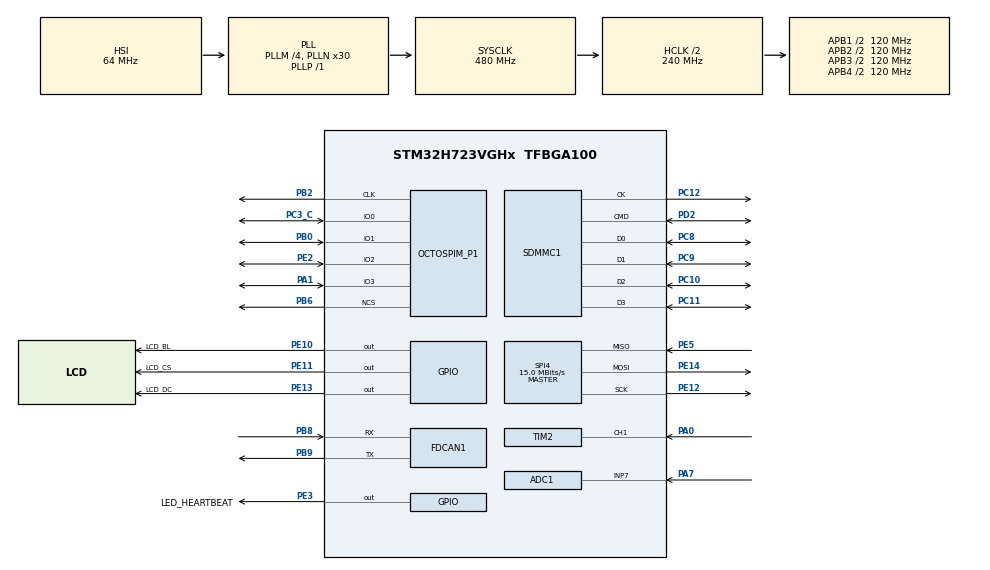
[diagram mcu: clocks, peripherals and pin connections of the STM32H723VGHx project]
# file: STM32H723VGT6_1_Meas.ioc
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ADC1.Channel-0\#ChannelRegularConversion=ADC_CHANNEL_7
ADC1.ConversionDataManagement=ADC_CONVERSIONDATA_DMA_CIRCULAR
ADC1.ExternalTrigConv=ADC_EXTERNALTRIG_T6_TRGO
ADC1.NbrOfConversionFlag=1
ADC1.OffsetNumber-0\#ChannelRegularConversion=ADC_OFFSET_NONE
ADC1.OffsetSignedSaturation-0\#ChannelRegularConversion=DISABLE
ADC1.Rank-0\#ChannelRegularConversion=1
ADC1.SamplingTime-0\#ChannelRegularConversion=ADC_SAMPLETIME_8CYCLES_5
ADC1.master=1
CORTEX_M7.default_mode_Activation=1
Dma.ADC1.0.Direction=DMA_PERIPH_TO_MEMORY
Dma.ADC1.0.EventEnable=DISABLE
Dma.ADC1.0.FIFOMode=DMA_FIFOMODE_DISABLE
Dma.ADC1.0.Instance=DMA1_Stream0
Dma.ADC1.0.MemDataAlignment=DMA_MDATAALIGN_HALFWORD
Dma.ADC1.0.MemInc=DMA_MINC_ENABLE
Dma.ADC1.0.Mode=DMA_CIRCULAR
Dma.ADC1.0.PeriphDataAlignment=DMA_PDATAALIGN_HALFWORD
Dma.ADC1.0.PeriphInc=DMA_PINC_DISABLE
Dma.ADC1.0.Polarity=HAL_DMAMUX_REQ_GEN_RISING
Dma.ADC1.0.Priority=DMA_PRIORITY_LOW
Dma.ADC1.0.RequestNumber=1
Dma.ADC1.0.SignalID=NONE
Dma.ADC1.0.SyncEnable=DISABLE
Dma.ADC1.0.SyncPolarity=HAL_DMAMUX_SYNC_NO_EVENT
Dma.ADC1.0.SyncRequestNumber=1
Dma.ADC1.0.SyncSignalID=NONE
Dma.Request0=ADC1
FDCAN1.AutoRetransmission=ENABLE
FDCAN1.CalculateBaudRateNominal=500000
FDCAN1.CalculateTimeBitNominal=2000
FDCAN1.CalculateTimeQuantumNominal=100.0
FDCAN1.NominalPrescaler=12
FDCAN1.NominalSyncJumpWidth=4
FDCAN1.NominalTimeSeg1=15
FDCAN1.NominalTimeSeg2=4
FDCAN1.RxFifo0ElmtsNbr=32
FDCAN1.StdFiltersNbr=1
FDCAN1.TxEventsNbr=1
FDCAN1.TxFifoQueueElmtsNbr=1
Mcu.Family=STM32H7
Mcu.Name=STM32H723VGHx
Mcu.Package=TFBGA100
NVIC.DMA1_Stream0_IRQn=true\:0\:0\:false\:false\:true\:false\:true\:true
NVIC.FDCAN1_IT0_IRQn=true\:0\:0\:false\:false\:true\:true\:true\:true
NVIC.PriorityGroup=NVIC_PRIORITYGROUP_4
PA0.Signal=S_TIM2_CH1_ETR
PA1.Mode=OCTOSPI1_IOL_Port1L
PA1.Signal=OCTOSPIM_P1_IO3
PA13(JTMS/SWDIO).Mode=Serial_Wire
PA13(JTMS/SWDIO).Signal=DEBUG_JTMS-SWDIO
PA14(JTCK/SWCLK).Mode=Serial_Wire
PA14(JTCK/SWCLK).Signal=DEBUG_JTCK-SWCLK
PA7.Signal=ADCx_INP7
PB0.Mode=OCTOSPI1_IOL_Port1L
PB0.Signal=OCTOSPIM_P1_IO1
PB2.Mode=O1_P1_CLK
PB2.Signal=OCTOSPIM_P1_CLK
PB6.Mode=OCTOSPI1_Port1_NCS
PB6.Signal=OCTOSPIM_P1_NCS
PB8.Mode=FDCAN_Activate
PB8.Signal=FDCAN1_RX
PB9.Mode=FDCAN_Activate
PB9.Signal=FDCAN1_TX
PC10.Mode=SD_4_bits_Wide_bus
PC10.Signal=SDMMC1_D2
PC11.Mode=SD_4_bits_Wide_bus
PC11.Signal=SDMMC1_D3
PC12.Mode=SD_4_bits_Wide_bus
PC12.Signal=SDMMC1_CK
PC3_C.Mode=OCTOSPI1_IOL_Port1L
PC3_C.Signal=OCTOSPIM_P1_IO0
PC8.Mode=SD_4_bits_Wide_bus
PC8.Signal=SDMMC1_D0
PC9.Mode=SD_4_bits_Wide_bus
PC9.Signal=SDMMC1_D1
PD2.Mode=SD_4_bits_Wide_bus
PD2.Signal=SDMMC1_CMD
PE10.GPIO_Label=LCD_BL
PE10.Signal=GPIO_Output
PE11.GPIO_Label=LCD_CS
PE11.Signal=GPIO_Output
PE12.Mode=Full_Duplex_Master
PE12.Signal=SPI4_SCK
PE13.GPIO_Label=LCD_DC
PE13.Signal=GPIO_Output
PE14.Mode=Full_Duplex_Master
PE14.Signal=SPI4_MOSI
PE2.Mode=OCTOSPI1_IOL_Port1L
PE2.Signal=OCTOSPIM_P1_IO2
PE3.GPIO_Label=LED_HEARTBEAT
PE3.Signal=GPIO_Output
PE5.Mode=Full_Duplex_Master
PE5.Signal=SPI4_MISO
PH0-OSC_IN.Mode=HSE-External-Oscillator
PH0-OSC_IN.Signal=RCC_OSC_IN
PH1-OSC_OUT.Mode=HSE-External-Oscillator
PH1-OSC_OUT.Signal=RCC_OSC_OUT
ProjectManager.HeapSize=0x200
ProjectManager.StackSize=0x400
ProjectManager.TargetToolchain=STM32CubeIDE
RCC.ADCFreq_Value=96000000
RCC.APB1Freq_Value=120000000
RCC.APB2Freq_Value=120000000
RCC.APB3Freq_Value=120000000
RCC.APB4Freq_Value=120000000
RCC.CortexFreq_Value=480000000
RCC.D1PPRE=RCC_APB3_DIV2
RCC.D2PPRE1=RCC_APB1_DIV2
RCC.D2PPRE2=RCC_APB2_DIV2
RCC.D3PPRE=RCC_APB4_DIV2
RCC.DIVM1=4
RCC.DIVM2=4
RCC.DIVN1=30
RCC.DIVN2=12
RCC.DIVN3=120
RCC.DIVP1=1
RCC.DIVQ1=4
RCC.HCLKFreq_Value=240000000
RCC.HPRE=RCC_HCLK_DIV2
RCC.PLL2FRACN=0
RCC.PLL3FRACN=0
RCC.PLLFRACN=0
RCC.QSPICLockSelection=RCC_OSPICLKSOURCE_PLL2
RCC.SDMMC1CLockSelection=RCC_SDMMCCLKSOURCE_PLL2
RCC.SYSCLKFreq_VALUE=480000000
RCC.SYSCLKSource=RCC_SYSCLKSOURCE_PLLCLK
RCC.USBFreq_Value=120000000
SDMMC1.ClockDiv=5
SH.ADCx_INP7.0=ADC1_INP7,IN7-Single-Ended
SH.S_TIM2_CH1_ETR.0=TIM2_CH1,TriggerSource_TI1FP1
SPI4.BaudRatePrescaler=SPI_BAUDRATEPRESCALER_8
SPI4.CalculateBaudRate=15.0 MBits/s
SPI4.DataSize=SPI_DATASIZE_8BIT
SPI4.Direction=SPI_DIRECTION_2LINES
SPI4.Mode=SPI_MODE_MASTER
SPI4.VirtualType=VM_MASTER
TIM6.Period=8
TIM6.Prescaler=5999
TIM6.TIM_MasterOutputTrigger=TIM_TRGO_UPDATE
VP_FATFS_VS_SDIO.Mode=SDIO
VP_MEMORYMAP_VS_MEMORYMAP.Mode=CurAppReg
VP_OCTOSPI1_VS_octo.Mode=octo_mode
VP_TIM2_VS_ControllerModeClock.Mode=Clock Mode
VP_TIM6_VS_ClockSourceINT.Mode=Enable_Timer
board=custom

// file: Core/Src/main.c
/* USER CODE BEGIN Header */
/**
  ******************************************************************************
  * @file           : main.c
  * @brief          : Main program body
  ******************************************************************************
  * @attention
  *
  * Copyright (c) 2026 STMicroelectronics.
  * All rights reserved.
  *
  * This software is licensed under terms that can be found in the LICENSE file
  * in the root directory of this software component.
  * If no LICENSE file comes with this software, it is provided AS-IS.
  *
  ******************************************************************************
  */
/* USER CODE END Header */
#include "main.h"
#include "fatfs.h"

/* USER CODE BEGIN Includes */
#include "st7735.h"
#include "w25qxx_ospi.h"
#include "fdcan_comm.h"
#include "sd_logger.h"
#include <stdio.h>
#include <string.h>
#include <stdarg.h>

/* USER CODE END Includes */

/* USER CODE BEGIN PD */
/* Адаптивный IIR-фильтр (H723 ADC 16-bit: 0-65535) */
#define ADAPT_FAST_TH  8000U   /* ~500 * 16 для 16-bit ADC */
#define ADAPT_MED_TH   1920U   /* ~120 * 16 */
#define ADC_BUF_LEN    256

/* Flash layout (8MB W25Q64) */
#define LOG_PAGE_SIZE          256UL
#define LOG_SECTOR_SIZE       4096UL
#define LOG_BASE_ADDR       0x000000UL
#define LOG_TOTAL_BYTES   (8UL * 1024UL * 1024UL)
#define LOG_END_ADDR      (LOG_BASE_ADDR + LOG_TOTAL_BYTES)
#define VERIFIED_BASE_ADDR    (6UL * 1024UL * 1024UL)
#define VERIFIED_END_ADDR     (8UL * 1024UL * 1024UL)

/* UI координаты */
#define UI_Y0  0
#define UI_Y1  20
#define UI_Y2  38
#define UI_Y3  60

/* Misc */
#define LOG_IO_POLL_MS        2UL
#define ADC_PROCESS_BUDGET   32U
#define UI_STARTUP_SETTLE_MS 300UL

/* USER CODE END PD */

ADC_HandleTypeDef hadc1;
DMA_HandleTypeDef hdma_adc1;

FDCAN_HandleTypeDef hfdcan1;

OSPI_HandleTypeDef hospi1;

SD_HandleTypeDef hsd1;

SPI_HandleTypeDef hspi4;

TIM_HandleTypeDef htim2;
TIM_HandleTypeDef htim6;

/* USER CODE BEGIN PV */
static volatile uint32_t W_THRESH       = 160;  /* 16-bit ADC масштаб */
static volatile uint32_t W_DEADBAND_MS  = 10;

/* ADC DMA буфер */
static uint16_t adc_buf[ADC_BUF_LEN];

/* Состояние измерений */
static volatile uint32_t w_avg  = 0;
static volatile uint32_t w_filt = 0;
static volatile uint32_t w0     = 0;
static volatile uint32_t events = 0;
static volatile uint8_t  ui_force_redraw = 0;

/* Кольцевая очередь усреднённых значений */
#define AVG_Q_SIZE 1024
static volatile uint32_t avg_q[AVG_Q_SIZE];
static volatile uint32_t avg_q_ts[AVG_Q_SIZE];
static volatile uint32_t avg_q_cnt[AVG_Q_SIZE];
static volatile uint32_t avg_q_head = 0;
static volatile uint32_t avg_q_tail = 0;
static volatile uint32_t avg_q_overflow = 0;
static volatile uint32_t adc_half_cb = 0;
static volatile uint32_t adc_full_cb = 0;
static volatile uint32_t adc_last_cb_ms = 0;

/* Статистика */
static volatile uint16_t w_min = 0xFFFF;
static volatile uint16_t w_max = 0;

/* Структура записи лога */
typedef struct __attribute__((packed)) {
    uint32_t n;
    uint32_t freq_hz;
    int16_t  dW;
    uint8_t  dir;
    uint8_t  rsv0;
    uint32_t t_ms;
} log_rec_t;

/* Верификационный менеджер */
typedef enum {
    V_MGR_IDLE = 0, V_MGR_TRIGGERED, V_MGR_SEND_REQ,
    V_MGR_WAIT_START, V_MGR_VERIFYING, V_MGR_WAIT_DONE, V_MGR_NEXT
} v_mgr_state_t;

static struct {
    v_mgr_state_t state;
    uint32_t read_idx;
    uint32_t total_to_verify;
    uint32_t current_freq;
    uint32_t start_ms;
    int      confirmed_count;
    int      total_sweeps;
    uint32_t last_v_avg;
} v_mgr;

/* Flash logging */
static uint32_t log_used_bytes        = 0;
static uint32_t log_rec_no            = 0;
static uint32_t verified_write_addr   = VERIFIED_BASE_ADDR;
static uint32_t verified_count        = 0;
static volatile uint8_t  log_full     = 0;
static volatile uint8_t  log_error    = 0;
static uint32_t log_last_flush_ms     = 0;
static volatile uint32_t log_prog_to  = 0;
static volatile uint32_t log_erase_to = 0;

typedef enum { LOG_IO_IDLE = 0, LOG_IO_ERASE_WAIT, LOG_IO_PROG_WAIT } log_io_state_t;
static log_io_state_t log_io_state      = LOG_IO_IDLE;
static uint8_t        log_io_page       = 0;
static uint32_t       log_io_addr       = 0;
static uint32_t       log_io_sector_base= 0;
static uint32_t       log_io_started_ms = 0;
static uint32_t       log_io_next_poll_ms = 0;

static uint8_t          log_pages[2][LOG_PAGE_SIZE];
static uint32_t         log_pos[2]      = {0, 0};
static volatile uint8_t log_wr_idx      = 0;
static volatile uint8_t log_ready_mask  = 0;
static uint32_t         log_write_addr  = LOG_BASE_ADDR;
static uint32_t         log_next_erase_sector = LOG_BASE_ADDR;

static uint8_t sd_logger_start_requested = 0;

/* USER CODE END PV */

void SystemClock_Config(void);
void PeriphCommonClock_Config(void);
static void MPU_Config(void);
static void MX_GPIO_Init(void);
static void MX_DMA_Init(void);
static void MX_SPI4_Init(void);
static void MX_SDMMC1_SD_Init(void);
static void MX_OCTOSPI1_Init(void);
static void MX_FDCAN1_Init(void);
static void MX_ADC1_Init(void);
static void MX_TIM2_Init(void);
static void MX_TIM6_Init(void);
/* USER CODE BEGIN PFP */
void Console_Log(const char *fmt, ...);
static void Log_Append(int16_t dW, uint8_t dir, uint32_t freq_hz, uint32_t t_ms);
static void process_avg(uint32_t a, uint32_t t_ms, uint32_t cnt);
static void V_ManagerTask(uint32_t now);
static void UI_Task(uint32_t now, uint32_t period_ms);
static void Log_FlushTask(uint32_t now);

/* USER CODE END PFP */

/* USER CODE BEGIN 0 */
void Console_Log(const char *fmt, ...) {
    char buf[128];
    va_list args;
    va_start(args, fmt);
    int len = vsnprintf(buf, sizeof(buf), fmt, args);
    va_end(args);
    for (int i = 0; i < len; i++) ITM_SendChar(buf[i]);
}

static inline uint32_t avg_u16(const uint16_t *p, uint32_t n) {
    uint32_t s = 0;
    const uint16_t *end4 = p + (n & ~3UL);
    while (p < end4) { s += p[0]+p[1]+p[2]+p[3]; p += 4; }
    const uint16_t *end = p + (n & 3UL);
    while (p < end) s += *p++;
    return s / n;
}

static inline void avg_queue_push(uint32_t avg, uint32_t t, uint32_t cnt) {
    uint32_t h = avg_q_head;
    uint32_t next = (h + 1U) & (AVG_Q_SIZE - 1U);
    if (next == avg_q_tail) { avg_q_overflow++; return; }
    avg_q[h] = avg; avg_q_ts[h] = t; avg_q_cnt[h] = cnt;
    __DMB(); avg_q_head = next;
}

void HAL_ADC_ConvHalfCpltCallback(ADC_HandleTypeDef *hadc) {
    if (hadc->Instance == ADC1) {
        adc_half_cb++;
        adc_last_cb_ms = HAL_GetTick();
        uint32_t a = avg_u16(&adc_buf[0], ADC_BUF_LEN / 2);
        avg_queue_push(a, HAL_GetTick(), htim2.Instance->CNT);
    }
}

void HAL_ADC_ConvCpltCallback(ADC_HandleTypeDef *hadc) {
    if (hadc->Instance == ADC1) {
        adc_full_cb++;
        adc_last_cb_ms = HAL_GetTick();
        uint32_t a = avg_u16(&adc_buf[ADC_BUF_LEN / 2], ADC_BUF_LEN / 2);
        avg_queue_push(a, HAL_GetTick(), htim2.Instance->CNT);
    }
}

static inline int u32_to_str(char *buf, uint32_t v) {
    char tmp[12]; int p = 0;
    if (v == 0U) tmp[p++] = '0';
    while (v != 0U && p < (int)sizeof(tmp)) { tmp[p++] = (char)('0'+(v%10U)); v/=10U; }
    int idx = 0;
    for (int i = p-1; i >= 0; --i) buf[idx++] = tmp[i];
    buf[idx] = '\0'; return idx;
}

static inline void u32_to_str_pad(char *out, size_t out_sz, uint32_t v, int width) {
    char tmp[16]; int len = u32_to_str(tmp, v);
    int pad = width - len; if (pad < 0) pad = 0;
    size_t i = 0;
    while (pad-- > 0 && i+1U < out_sz) out[i++] = ' ';
    for (int j = 0; j < len && i+1U < out_sz; ++j) out[i++] = tmp[j];
    out[i] = '\0';
}

static void process_avg(uint32_t a, uint32_t t_ms, uint32_t cnt) {
    (void)cnt;
    w_avg = a;
    if (a < w_min) w_min = (uint16_t)a;
    if (a > w_max) w_max = (uint16_t)a;

    uint32_t diff = (a > w_filt) ? (a - w_filt) : (w_filt - a);
    uint32_t alpha_num, alpha_den;
    if      (diff >= ADAPT_FAST_TH) { alpha_num=1U; alpha_den=2U; }
    else if (diff >= ADAPT_MED_TH)  { alpha_num=1U; alpha_den=3U; }
    else                             { alpha_num=1U; alpha_den=4U; }
    w_filt = ((alpha_den - alpha_num) * w_filt + alpha_num * a) / alpha_den;

    int32_t dW = (int32_t)w_filt - (int32_t)w0;
    uint32_t adW = (dW >= 0) ? (uint32_t)dW : (uint32_t)(-dW);
    static uint32_t t_last_evt = 0;

    if (adW >= W_THRESH && (t_ms - t_last_evt) >= W_DEADBAND_MS) {
        t_last_evt = t_ms;
        if (v_mgr.state == V_MGR_VERIFYING) {
            v_mgr.confirmed_count++;
            v_mgr.last_v_avg = a;
        }
        events++;
        w0 = (uint32_t)w_filt;
        uint8_t dir = (dW >= 0) ? 1U : 0U;
        uint32_t freq = FDCAN_GetLastFreq();
        Log_Append((int16_t)dW, dir, freq, t_ms);
    }
}

static void UI_Task(uint32_t now, uint32_t period_ms) {
    static uint32_t t_prev = 0;
    static uint32_t last_w_avg = 0xFFFFFFFFU;
    static uint32_t last_events = 0xFFFFFFFFU;
    static uint8_t  last_mode = 0xFFU;
    static uint32_t last_v_cnt = 0xFFFFFFFFU;
    static uint32_t last_used_kb = 0xFFFFFFFFU;
    static uint8_t  last_conn = 0xFFU;
    static uint32_t t_last_force = 0;

    if ((now - t_prev) < period_ms && !ui_force_redraw) return;
    t_prev = now;

    if ((now - t_last_force) >= 1000U) { t_last_force = now; last_w_avg = 0xFFFFFFFFU; }

    if (ui_force_redraw) {
        last_w_avg=0xFFFFFFFFU; last_events=0xFFFFFFFFU; last_mode=0xFFU;
        last_v_cnt=0xFFFFFFFFU; last_used_kb=0xFFFFFFFFU; last_conn=0xFFU;
        ui_force_redraw = 0;
    }
    char s[32];

    /* Строка 1: A:xxxx  E:xxxx */
    if (w_avg != last_w_avg) {
        last_w_avg = w_avg;
        s[0]='A'; s[1]=':'; s[2]='\0';
        u32_to_str_pad(&s[2], sizeof(s)-2U, w_avg, 5);
        ST7735_DrawString5x7_Scaled(0, UI_Y0, s, ST7735_WHITE, ST7735_BLACK, 2);
    }
    if (events != last_events) {
        last_events = events;
        s[0]='E'; s[1]=':'; s[2]='\0';
        u32_to_str_pad(&s[2], sizeof(s)-2U, events, 4);
        ST7735_DrawString5x7_Scaled(84, UI_Y0, s, ST7735_WHITE, ST7735_BLACK, 2);
    }

    /* Строка 2: M:x V:xxx [CON/DIS] */
    uint8_t cur_mode = FDCAN_GetLastMode();
    uint32_t last_rx = FDCAN_GetLastRxTick();
    uint32_t conn_tick = HAL_GetTick();
    uint8_t is_conn = (last_rx != 0 && (conn_tick - last_rx) < 2000U);
    if (is_conn != last_conn) last_mode = 0xFFU;
    if (cur_mode != last_mode || verified_count != last_v_cnt || is_conn != last_conn) {
        last_mode = cur_mode; last_v_cnt = verified_count; last_conn = is_conn;
        snprintf(s, sizeof(s), "M:%u V:%lu [%s]  ",
                 cur_mode, (unsigned long)verified_count, is_conn ? "CON" : "DIS");
        ST7735_DrawString5x7_Scaled(0, UI_Y1, s,
            is_conn ? ST7735_CYAN : ST7735_RED, ST7735_BLACK, 2);
    }

    /* Строка 3: LOG:xxxK xx% */
    uint32_t used_kb = log_used_bytes / 1024UL;
    if (used_kb != last_used_kb) {
        last_used_kb = used_kb;
        uint32_t pct = (LOG_TOTAL_BYTES == 0) ? 0 :
                       (log_used_bytes * 100UL) / LOG_TOTAL_BYTES;
        snprintf(s, sizeof(s), "LOG:%luK %lu%%   ",
                 (unsigned long)used_kb, (unsigned long)pct);
        ST7735_DrawString5x7_Scaled(0, UI_Y2, s, ST7735_YELLOW, ST7735_BLACK, 2);
    }

    /* Строка 4: F:xxxxxxx Hz */
    {
        static uint32_t last_freq = 0xFFFFFFFFU;
        uint32_t freq = FDCAN_GetLastFreq();
        if (freq != last_freq || (now - t_last_force) < period_ms) {
            last_freq = freq;
            snprintf(s, sizeof(s), "F:%7lu Hz  ", (unsigned long)freq);
            ST7735_DrawString5x7_Scaled(0, UI_Y3, s, ST7735_MAGENTA, ST7735_BLACK, 2);
        }
    }
}

static void Log_Append(int16_t dW, uint8_t dir, uint32_t freq_hz, uint32_t t_ms) {
    if (log_full || log_error) return;
    log_rec_t r;
    r.n = log_rec_no++; r.freq_hz = freq_hz;
    r.dW = dW; r.dir = dir; r.rsv0 = 0; r.t_ms = t_ms;

    uint32_t prim = __get_PRIMASK(); __disable_irq();
    uint8_t i = (uint8_t)log_wr_idx;
    if (log_ready_mask & (1U<<i)) {
        uint8_t j = (uint8_t)(i^1U);
        if (log_ready_mask & (1U<<j)) { __set_PRIMASK(prim); return; }
        log_wr_idx = j; i = j;
    }
    if (log_pos[i] + sizeof(r) > LOG_PAGE_SIZE) {
        log_ready_mask |= (1U<<i);
        uint8_t j = (uint8_t)(i^1U);
        if (log_ready_mask & (1U<<j)) { __set_PRIMASK(prim); return; }
        log_wr_idx = j; i = j;
        if (log_pos[i] + sizeof(r) > LOG_PAGE_SIZE) { __set_PRIMASK(prim); return; }
    }
    memcpy(&log_pages[i][log_pos[i]], &r, sizeof(r));
    __DMB(); log_pos[i] += sizeof(r);
    if (log_pos[i] == LOG_PAGE_SIZE) { log_ready_mask |= (1U<<i); log_wr_idx ^= 1U; }
    __set_PRIMASK(prim);
}

static void Log_FlushTask(uint32_t now) {
    if (log_full) return;
    if (log_error) {
        static uint32_t s_err_since = 0U; static uint8_t s_err_count = 0U;
        if (s_err_since == 0U) s_err_since = now;
        if (s_err_count < 3U && (now - s_err_since) >= 5000U) {
            log_error = 0; log_io_state = LOG_IO_IDLE; s_err_since = 0U; s_err_count++;
        } else return;
    }
    if (log_io_state == LOG_IO_ERASE_WAIT) {
        if ((int32_t)(now - log_io_started_ms) >= 2000) { log_erase_to++; log_error=1; return; }
        if ((int32_t)(now - log_io_next_poll_ms) < 0) return;
        log_io_next_poll_ms = now + LOG_IO_POLL_MS;
        if (W25qxx_IsBusy() == w25qxx_BUSY) return;
        log_next_erase_sector = log_io_sector_base + LOG_SECTOR_SIZE;
        uint8_t st = W25qxx_PageProgramStart(log_pages[log_io_page], log_io_addr, LOG_PAGE_SIZE);
        if (st == w25qxx_BUSY) return;
        if (st != w25qxx_OK) { log_error=1; return; }
        log_io_state = LOG_IO_PROG_WAIT; log_io_started_ms = now;
        log_io_next_poll_ms = now + LOG_IO_POLL_MS; return;
    }
    if (log_io_state == LOG_IO_PROG_WAIT) {
        if ((int32_t)(now - log_io_started_ms) >= 100) { log_prog_to++; log_error=1; return; }
        if ((int32_t)(now - log_io_next_poll_ms) < 0) return;
        log_io_next_poll_ms = now + LOG_IO_POLL_MS;
        if (W25qxx_IsBusy() == w25qxx_BUSY) return;
        __disable_irq(); log_pos[log_io_page]=0;
        log_ready_mask &= (uint8_t)~(1U<<log_io_page); __enable_irq();
        log_write_addr += LOG_PAGE_SIZE; log_used_bytes += LOG_PAGE_SIZE;
        if (log_write_addr + LOG_PAGE_SIZE > LOG_END_ADDR) log_full = 1;
        log_io_state = LOG_IO_IDLE; return;
    }
    if (log_write_addr + LOG_PAGE_SIZE > LOG_END_ADDR) { log_full=1; return; }
    uint8_t ready; __disable_irq(); ready = log_ready_mask; __enable_irq();
    if (!ready) return;
    uint8_t page = (ready & 0x01) ? 0 : 1;
    if (log_pos[page] == 0) return;
    log_io_page = page; log_io_addr = log_write_addr;
    log_io_sector_base = log_io_addr & ~(LOG_SECTOR_SIZE - 1U);
    log_io_started_ms = now; log_io_next_poll_ms = now + LOG_IO_POLL_MS;
    if (log_io_addr == log_next_erase_sector) {
        uint8_t st = W25qxx_SectorEraseStart(log_io_sector_base);
        if (st == w25qxx_BUSY) return;
        if (st != w25qxx_OK) { log_error=1; return; }
        log_io_state = LOG_IO_ERASE_WAIT; return;
    }
    uint8_t st = W25qxx_PageProgramStart(log_pages[page], log_io_addr, LOG_PAGE_SIZE);
    if (st == w25qxx_BUSY) return;
    if (st != w25qxx_OK) { log_error=1; return; }
    log_io_state = LOG_IO_PROG_WAIT;
}

static void V_ManagerTask(uint32_t now) {
    switch (v_mgr.state) {
    case V_MGR_IDLE:
        if (log_used_bytes >= (LOG_TOTAL_BYTES * 6 / 10)) {
            v_mgr.state = V_MGR_TRIGGERED;
            v_mgr.read_idx = 0; v_mgr.total_to_verify = log_rec_no;
        }
        break;
    case V_MGR_TRIGGERED:
        if (v_mgr.read_idx >= v_mgr.total_to_verify) { v_mgr.state=V_MGR_IDLE; break; }
        { log_rec_t r;
          if (W25qxx_Read((uint8_t*)&r, LOG_BASE_ADDR+v_mgr.read_idx*sizeof(log_rec_t), sizeof(r))==w25qxx_OK)
            { v_mgr.current_freq=r.freq_hz; v_mgr.state=V_MGR_SEND_REQ; }
          else v_mgr.read_idx++; }
        break;
    case V_MGR_SEND_REQ:
        if (FDCAN_SendVerifyRequest(v_mgr.current_freq)==0)
            { v_mgr.state=V_MGR_WAIT_START; v_mgr.start_ms=now; }
        break;
    case V_MGR_WAIT_START:
        if (FDCAN_GetVerifyStatus()==VERIFY_START || FDCAN_GetVerifyStatus()==VERIFY_BUSY)
            { v_mgr.state=V_MGR_VERIFYING; v_mgr.confirmed_count=0; v_mgr.start_ms=now; }
        else if (now-v_mgr.start_ms>2000) { v_mgr.state=V_MGR_TRIGGERED; v_mgr.read_idx++; }
        break;
    case V_MGR_VERIFYING:
        if (FDCAN_GetVerifyStatus()==VERIFY_DONE) {
            if (v_mgr.confirmed_count>=5) {
                log_rec_t vr={0}; vr.n=verified_count++;
                vr.freq_hz=v_mgr.current_freq; vr.t_ms=now;
                if (verified_write_addr+sizeof(vr)<VERIFIED_END_ADDR) {
                    W25qxx_PageProgram((uint8_t*)&vr, verified_write_addr, sizeof(vr));
                    verified_write_addr += sizeof(vr);
                }
                SD_Logger_LogLine(vr.freq_hz, v_mgr.last_v_avg);
            }
            v_mgr.state=V_MGR_NEXT;
        } else if (now-v_mgr.start_ms>30000) v_mgr.state=V_MGR_NEXT;
        break;
    case V_MGR_NEXT:
        v_mgr.read_idx++; v_mgr.state=V_MGR_TRIGGERED; break;
    default: break;
    }
}

/* USER CODE END 0 */

int main(void)
{

  /* MPU Configuration--------------------------------------------------------*/
  MPU_Config();

  /* MCU Configuration--------------------------------------------------------*/

  /* Reset of all peripherals, Initializes the Flash interface and the Systick. */
  HAL_Init();

  /* Configure the system clock */
  SystemClock_Config();

  /* Configure the peripherals common clocks */
  PeriphCommonClock_Config();

  /* Initialize all configured peripherals */
  MX_GPIO_Init();
  MX_DMA_Init();
  MX_SPI4_Init();
  MX_SDMMC1_SD_Init();
  MX_FATFS_Init();
  MX_OCTOSPI1_Init();
  MX_FDCAN1_Init();
  MX_ADC1_Init();
  MX_TIM2_Init();
  MX_TIM6_Init();
  /* USER CODE BEGIN 2 */
  static uint8_t system_ready = 0;
  static uint8_t h5_reboot_requested = 0;
  uint32_t start_time = HAL_GetTick();

  HAL_TIM_Base_Start(&htim2);

  if (HAL_TIM_Base_Start(&htim6) != HAL_OK)
      Console_Log("[ADC] TIM6 start failed\n");

  if (HAL_ADC_Start_DMA(&hadc1, (uint32_t*)adc_buf, ADC_BUF_LEN) != HAL_OK)
      Console_Log("[ADC] DMA start failed\n");
  adc_last_cb_ms = HAL_GetTick();

  FDCAN_Comm_Init();

  ST7735_Init();
  ST7735_FillScreen(ST7735_BLACK);

  w25qxx_Init();
  Console_Log("[QSPI] ID=0x%04X SR=[0x%02X 0x%02X 0x%02X]\n",
      (unsigned int)w25qxx_ID,
      (unsigned int)w25qxx_StatusReg[0],
      (unsigned int)w25qxx_StatusReg[1],
      (unsigned int)w25qxx_StatusReg[2]);

  Console_Log("--- H723 MEAS START ---\n");
  Console_Log("Clock: %lu Hz\n", HAL_RCC_GetSysClockFreq());

  events = 0;
  ui_force_redraw = 1;
  log_used_bytes = 0; log_rec_no = 0;
  log_write_addr = LOG_BASE_ADDR; log_next_erase_sector = LOG_BASE_ADDR;
  log_pos[0] = 0; log_pos[1] = 0;
  log_wr_idx = 0; log_ready_mask = 0;
  log_full = 0; log_error = 0; log_io_state = LOG_IO_IDLE;
  log_io_page = 0; log_io_addr = 0; log_io_sector_base = 0;
  log_io_started_ms = 0; log_io_next_poll_ms = 0;
  log_last_flush_ms = HAL_GetTick();
  sd_logger_start_requested = 0;

  /* USER CODE END 2 */

  /* Infinite loop */
  /* USER CODE BEGIN WHILE */
  while (1)
  {
    uint32_t now = HAL_GetTick();

    if (!h5_reboot_requested && system_ready) {
        h5_reboot_requested = 1;
        FDCAN_SendRemoteReboot();
    }

    if (!system_ready && (now - start_time > UI_STARTUP_SETTLE_MS)) {
        uint32_t current_raw = avg_u16(adc_buf, ADC_BUF_LEN);
        system_ready = 1;
        __disable_irq(); avg_q_tail = avg_q_head; __enable_irq();
        w_avg = current_raw; w_filt = current_raw; w0 = current_raw;
        events = 0;
        ST7735_FillScreen(ST7735_BLACK);
        ui_force_redraw = 1;
        Console_Log("System Ready: baseline=%lu\n", current_raw);
    }

    V_ManagerTask(now);
    FDCAN_PollRx();

    if (!log_full && !log_error && (now - log_last_flush_ms) >= 20) {
        log_last_flush_ms = now;
        __disable_irq();
        uint8_t i = (uint8_t)log_wr_idx;
        if (!(log_ready_mask & (1U<<i)) && log_pos[i] > 0)
            log_ready_mask |= (1U<<i);
        __enable_irq();
    }

    Log_FlushTask(now);

    uint32_t head = avg_q_head; uint32_t processed = 0;
    while (avg_q_tail != head && processed < ADC_PROCESS_BUDGET) {
        uint32_t t = avg_q_ts[avg_q_tail];
        uint32_t a = avg_q[avg_q_tail];
        uint32_t cnt = avg_q_cnt[avg_q_tail];
        avg_q_tail = (avg_q_tail + 1U) & (AVG_Q_SIZE - 1U);
        if (system_ready) process_avg(a, t, cnt);
        processed++; head = avg_q_head;
    }

    if ((now - adc_last_cb_ms) > 1000U) {
        HAL_ADC_Stop_DMA(&hadc1);
        (void)HAL_TIM_Base_Stop(&htim6);
        (void)HAL_TIM_Base_Start(&htim6);
        if (HAL_ADC_Start_DMA(&hadc1, (uint32_t*)adc_buf, ADC_BUF_LEN) == HAL_OK) {
            adc_last_cb_ms = now;
            Console_Log("[ADC] DMA restarted\n");
        }
    }

    UI_Task(now, 500);

    if (system_ready && !sd_logger_start_requested) {
        (void)SD_Logger_Init();
        sd_logger_start_requested = 1U;
    }
    SD_Logger_Process(now);

    /* USER CODE END WHILE */

  }
}

void SystemClock_Config(void)
{
  RCC_OscInitTypeDef RCC_OscInitStruct = {0};
  RCC_ClkInitTypeDef RCC_ClkInitStruct = {0};

  /** Supply configuration update enable
  */
  HAL_PWREx_ConfigSupply(PWR_LDO_SUPPLY);

  /** Configure the main internal regulator output voltage
  */
  __HAL_PWR_VOLTAGESCALING_CONFIG(PWR_REGULATOR_VOLTAGE_SCALE0);

  while(!__HAL_PWR_GET_FLAG(PWR_FLAG_VOSRDY)) {}

  /** Initializes the RCC Oscillators according to the specified parameters
  * in the RCC_OscInitTypeDef structure.
  */
  RCC_OscInitStruct.OscillatorType = RCC_OSCILLATORTYPE_HSI;
  RCC_OscInitStruct.HSIState = RCC_HSI_DIV1;
  RCC_OscInitStruct.HSICalibrationValue = 64;
  RCC_OscInitStruct.PLL.PLLState = RCC_PLL_ON;
  RCC_OscInitStruct.PLL.PLLSource = RCC_PLLSOURCE_HSI;
  RCC_OscInitStruct.PLL.PLLM = 4;
  RCC_OscInitStruct.PLL.PLLN = 30;
  RCC_OscInitStruct.PLL.PLLP = 1;
  RCC_OscInitStruct.PLL.PLLQ = 4;
  RCC_OscInitStruct.PLL.PLLR = 2;
  RCC_OscInitStruct.PLL.PLLRGE = RCC_PLL1VCIRANGE_3;
  RCC_OscInitStruct.PLL.PLLVCOSEL = RCC_PLL1VCOWIDE;
  RCC_OscInitStruct.PLL.PLLFRACN = 0;
  if (HAL_RCC_OscConfig(&RCC_OscInitStruct) != HAL_OK)
  {
    Error_Handler();
  }

  /** Initializes the CPU, AHB and APB buses clocks
  */
  RCC_ClkInitStruct.ClockType = RCC_CLOCKTYPE_HCLK|RCC_CLOCKTYPE_SYSCLK
                              |RCC_CLOCKTYPE_PCLK1|RCC_CLOCKTYPE_PCLK2
                              |RCC_CLOCKTYPE_D3PCLK1|RCC_CLOCKTYPE_D1PCLK1;
  RCC_ClkInitStruct.SYSCLKSource = RCC_SYSCLKSOURCE_PLLCLK;
  RCC_ClkInitStruct.SYSCLKDivider = RCC_SYSCLK_DIV1;
  RCC_ClkInitStruct.AHBCLKDivider = RCC_HCLK_DIV2;
  RCC_ClkInitStruct.APB3CLKDivider = RCC_APB3_DIV2;
  RCC_ClkInitStruct.APB1CLKDivider = RCC_APB1_DIV2;
  RCC_ClkInitStruct.APB2CLKDivider = RCC_APB2_DIV2;
  RCC_ClkInitStruct.APB4CLKDivider = RCC_APB4_DIV2;

  if (HAL_RCC_ClockConfig(&RCC_ClkInitStruct, FLASH_LATENCY_3) != HAL_OK)
  {
    Error_Handler();
  }
}

void PeriphCommonClock_Config(void)
{
  RCC_PeriphCLKInitTypeDef PeriphClkInitStruct = {0};

  /** Initializes the peripherals clock
  */
  PeriphClkInitStruct.PeriphClockSelection = RCC_PERIPHCLK_OSPI|RCC_PERIPHCLK_ADC
                              |RCC_PERIPHCLK_SDMMC;
  PeriphClkInitStruct.PLL2.PLL2M = 4;
  PeriphClkInitStruct.PLL2.PLL2N = 12;
  PeriphClkInitStruct.PLL2.PLL2P = 2;
  PeriphClkInitStruct.PLL2.PLL2Q = 2;
  PeriphClkInitStruct.PLL2.PLL2R = 2;
  PeriphClkInitStruct.PLL2.PLL2RGE = RCC_PLL2VCIRANGE_3;
  PeriphClkInitStruct.PLL2.PLL2VCOSEL = RCC_PLL2VCOWIDE;
  PeriphClkInitStruct.PLL2.PLL2FRACN = 0;
  PeriphClkInitStruct.OspiClockSelection = RCC_OSPICLKSOURCE_PLL2;
  PeriphClkInitStruct.SdmmcClockSelection = RCC_SDMMCCLKSOURCE_PLL2;
  PeriphClkInitStruct.AdcClockSelection = RCC_ADCCLKSOURCE_PLL2;
  if (HAL_RCCEx_PeriphCLKConfig(&PeriphClkInitStruct) != HAL_OK)
  {
    Error_Handler();
  }
}

static void MX_ADC1_Init(void)
{

  ADC_MultiModeTypeDef multimode = {0};
  ADC_ChannelConfTypeDef sConfig = {0};

  /** Common config
  */
  hadc1.Instance = ADC1;
  hadc1.Init.ClockPrescaler = ADC_CLOCK_ASYNC_DIV1;
  hadc1.Init.Resolution = ADC_RESOLUTION_16B;
  hadc1.Init.ScanConvMode = ADC_SCAN_DISABLE;
  hadc1.Init.EOCSelection = ADC_EOC_SINGLE_CONV;
  hadc1.Init.LowPowerAutoWait = DISABLE;
  hadc1.Init.ContinuousConvMode = DISABLE;
  hadc1.Init.NbrOfConversion = 1;
  hadc1.Init.DiscontinuousConvMode = DISABLE;
  hadc1.Init.ExternalTrigConv = ADC_EXTERNALTRIG_T6_TRGO;
  hadc1.Init.ExternalTrigConvEdge = ADC_EXTERNALTRIGCONVEDGE_RISING;
  hadc1.Init.ConversionDataManagement = ADC_CONVERSIONDATA_DMA_CIRCULAR;
  hadc1.Init.Overrun = ADC_OVR_DATA_PRESERVED;
  hadc1.Init.LeftBitShift = ADC_LEFTBITSHIFT_NONE;
  hadc1.Init.OversamplingMode = DISABLE;
  hadc1.Init.Oversampling.Ratio = 1;
  if (HAL_ADC_Init(&hadc1) != HAL_OK)
  {
    Error_Handler();
  }

  /** Configure the ADC multi-mode
  */
  multimode.Mode = ADC_MODE_INDEPENDENT;
  if (HAL_ADCEx_MultiModeConfigChannel(&hadc1, &multimode) != HAL_OK)
  {
    Error_Handler();
  }

  /** Configure Regular Channel
  */
  sConfig.Channel = ADC_CHANNEL_7;
  sConfig.Rank = ADC_REGULAR_RANK_1;
  sConfig.SamplingTime = ADC_SAMPLETIME_8CYCLES_5;
  sConfig.SingleDiff = ADC_SINGLE_ENDED;
  sConfig.OffsetNumber = ADC_OFFSET_NONE;
  sConfig.Offset = 0;
  sConfig.OffsetSignedSaturation = DISABLE;
  if (HAL_ADC_ConfigChannel(&hadc1, &sConfig) != HAL_OK)
  {
    Error_Handler();
  }

}

static void MX_FDCAN1_Init(void)
{

  hfdcan1.Instance = FDCAN1;
  hfdcan1.Init.FrameFormat = FDCAN_FRAME_CLASSIC;
  hfdcan1.Init.Mode = FDCAN_MODE_NORMAL;
  hfdcan1.Init.AutoRetransmission = ENABLE;
  hfdcan1.Init.TransmitPause = DISABLE;
  hfdcan1.Init.ProtocolException = DISABLE;
  hfdcan1.Init.NominalPrescaler = 12;
  hfdcan1.Init.NominalSyncJumpWidth = 4;
  hfdcan1.Init.NominalTimeSeg1 = 15;
  hfdcan1.Init.NominalTimeSeg2 = 4;
  hfdcan1.Init.DataPrescaler = 1;
  hfdcan1.Init.DataSyncJumpWidth = 1;
  hfdcan1.Init.DataTimeSeg1 = 1;
  hfdcan1.Init.DataTimeSeg2 = 1;
  hfdcan1.Init.MessageRAMOffset = 0;
  hfdcan1.Init.StdFiltersNbr = 1;
  hfdcan1.Init.ExtFiltersNbr = 0;
  hfdcan1.Init.RxFifo0ElmtsNbr = 32;
  hfdcan1.Init.RxFifo0ElmtSize = FDCAN_DATA_BYTES_8;
  hfdcan1.Init.RxFifo1ElmtsNbr = 0;
  hfdcan1.Init.RxFifo1ElmtSize = FDCAN_DATA_BYTES_8;
  hfdcan1.Init.RxBuffersNbr = 0;
  hfdcan1.Init.RxBufferSize = FDCAN_DATA_BYTES_8;
  hfdcan1.Init.TxEventsNbr = 1;
  hfdcan1.Init.TxBuffersNbr = 0;
  hfdcan1.Init.TxFifoQueueElmtsNbr = 1;
  hfdcan1.Init.TxFifoQueueMode = FDCAN_TX_FIFO_OPERATION;
  hfdcan1.Init.TxElmtSize = FDCAN_DATA_BYTES_8;
  if (HAL_FDCAN_Init(&hfdcan1) != HAL_OK)
  {
    Error_Handler();
  }

}

static void MX_OCTOSPI1_Init(void)
{

  OSPIM_CfgTypeDef sOspiManagerCfg = {0};

  /* OCTOSPI1 parameter configuration*/
  hospi1.Instance = OCTOSPI1;
  hospi1.Init.FifoThreshold = 1;
  hospi1.Init.DualQuad = HAL_OSPI_DUALQUAD_DISABLE;
  hospi1.Init.MemoryType = HAL_OSPI_MEMTYPE_MICRON;
  hospi1.Init.DeviceSize = 32;
  hospi1.Init.ChipSelectHighTime = 1;
  hospi1.Init.FreeRunningClock = HAL_OSPI_FREERUNCLK_DISABLE;
  hospi1.Init.ClockMode = HAL_OSPI_CLOCK_MODE_0;
  hospi1.Init.WrapSize = HAL_OSPI_WRAP_NOT_SUPPORTED;
  hospi1.Init.ClockPrescaler = 1;
  hospi1.Init.SampleShifting = HAL_OSPI_SAMPLE_SHIFTING_NONE;
  hospi1.Init.DelayHoldQuarterCycle = HAL_OSPI_DHQC_DISABLE;
  hospi1.Init.ChipSelectBoundary = 0;
  hospi1.Init.DelayBlockBypass = HAL_OSPI_DELAY_BLOCK_BYPASSED;
  hospi1.Init.MaxTran = 0;
  hospi1.Init.Refresh = 0;
  if (HAL_OSPI_Init(&hospi1) != HAL_OK)
  {
    Error_Handler();
  }
  sOspiManagerCfg.ClkPort = 1;
  sOspiManagerCfg.NCSPort = 1;
  sOspiManagerCfg.IOLowPort = HAL_OSPIM_IOPORT_1_LOW;
  if (HAL_OSPIM_Config(&hospi1, &sOspiManagerCfg, HAL_OSPI_TIMEOUT_DEFAULT_VALUE) != HAL_OK)
  {
    Error_Handler();
  }

}

static void MX_SDMMC1_SD_Init(void)
{

  hsd1.Instance = SDMMC1;
  hsd1.Init.ClockEdge = SDMMC_CLOCK_EDGE_RISING;
  hsd1.Init.ClockPowerSave = SDMMC_CLOCK_POWER_SAVE_DISABLE;
  hsd1.Init.BusWide = SDMMC_BUS_WIDE_4B;
  hsd1.Init.HardwareFlowControl = SDMMC_HARDWARE_FLOW_CONTROL_DISABLE;
  hsd1.Init.ClockDiv = 5;
  if (HAL_SD_Init(&hsd1) != HAL_OK)
  {
    Error_Handler();
  }

}

static void MX_SPI4_Init(void)
{

  /* SPI4 parameter configuration*/
  hspi4.Instance = SPI4;
  hspi4.Init.Mode = SPI_MODE_MASTER;
  hspi4.Init.Direction = SPI_DIRECTION_2LINES;
  hspi4.Init.DataSize = SPI_DATASIZE_8BIT;
  hspi4.Init.CLKPolarity = SPI_POLARITY_LOW;
  hspi4.Init.CLKPhase = SPI_PHASE_1EDGE;
  hspi4.Init.NSS = SPI_NSS_SOFT;
  hspi4.Init.BaudRatePrescaler = SPI_BAUDRATEPRESCALER_8;
  hspi4.Init.FirstBit = SPI_FIRSTBIT_MSB;
  hspi4.Init.TIMode = SPI_TIMODE_DISABLE;
  hspi4.Init.CRCCalculation = SPI_CRCCALCULATION_DISABLE;
  hspi4.Init.CRCPolynomial = 0x0;
  hspi4.Init.NSSPMode = SPI_NSS_PULSE_ENABLE;
  hspi4.Init.NSSPolarity = SPI_NSS_POLARITY_LOW;
  hspi4.Init.FifoThreshold = SPI_FIFO_THRESHOLD_01DATA;
  hspi4.Init.TxCRCInitializationPattern = SPI_CRC_INITIALIZATION_ALL_ZERO_PATTERN;
  hspi4.Init.RxCRCInitializationPattern = SPI_CRC_INITIALIZATION_ALL_ZERO_PATTERN;
  hspi4.Init.MasterSSIdleness = SPI_MASTER_SS_IDLENESS_00CYCLE;
  hspi4.Init.MasterInterDataIdleness = SPI_MASTER_INTERDATA_IDLENESS_00CYCLE;
  hspi4.Init.MasterReceiverAutoSusp = SPI_MASTER_RX_AUTOSUSP_DISABLE;
  hspi4.Init.MasterKeepIOState = SPI_MASTER_KEEP_IO_STATE_DISABLE;
  hspi4.Init.IOSwap = SPI_IO_SWAP_DISABLE;
  if (HAL_SPI_Init(&hspi4) != HAL_OK)
  {
    Error_Handler();
  }

}

static void MX_TIM2_Init(void)
{

  TIM_SlaveConfigTypeDef sSlaveConfig = {0};
  TIM_MasterConfigTypeDef sMasterConfig = {0};

  htim2.Instance = TIM2;
  htim2.Init.Prescaler = 0;
  htim2.Init.CounterMode = TIM_COUNTERMODE_UP;
  htim2.Init.Period = 4294967295;
  htim2.Init.ClockDivision = TIM_CLOCKDIVISION_DIV1;
  htim2.Init.AutoReloadPreload = TIM_AUTORELOAD_PRELOAD_DISABLE;
  if (HAL_TIM_Base_Init(&htim2) != HAL_OK)
  {
    Error_Handler();
  }
  sSlaveConfig.SlaveMode = TIM_SLAVEMODE_EXTERNAL1;
  sSlaveConfig.InputTrigger = TIM_TS_TI1FP1;
  sSlaveConfig.TriggerPolarity = TIM_TRIGGERPOLARITY_RISING;
  sSlaveConfig.TriggerFilter = 0;
  if (HAL_TIM_SlaveConfigSynchro(&htim2, &sSlaveConfig) != HAL_OK)
  {
    Error_Handler();
  }
  sMasterConfig.MasterOutputTrigger = TIM_TRGO_RESET;
  sMasterConfig.MasterSlaveMode = TIM_MASTERSLAVEMODE_DISABLE;
  if (HAL_TIMEx_MasterConfigSynchronization(&htim2, &sMasterConfig) != HAL_OK)
  {
    Error_Handler();
  }

}

static void MX_TIM6_Init(void)
{

  TIM_MasterConfigTypeDef sMasterConfig = {0};

  htim6.Instance = TIM6;
  htim6.Init.Prescaler = 5999;
  htim6.Init.CounterMode = TIM_COUNTERMODE_UP;
  htim6.Init.Period = 8;
  htim6.Init.AutoReloadPreload = TIM_AUTORELOAD_PRELOAD_DISABLE;
  if (HAL_TIM_Base_Init(&htim6) != HAL_OK)
  {
    Error_Handler();
  }
  sMasterConfig.MasterOutputTrigger = TIM_TRGO_UPDATE;
  sMasterConfig.MasterSlaveMode = TIM_MASTERSLAVEMODE_DISABLE;
  if (HAL_TIMEx_MasterConfigSynchronization(&htim6, &sMasterConfig) != HAL_OK)
  {
    Error_Handler();
  }

}

static void MX_DMA_Init(void)
{

  /* DMA controller clock enable */
  __HAL_RCC_DMA1_CLK_ENABLE();

  /* DMA interrupt init */
  /* DMA1_Stream0_IRQn interrupt configuration */
  HAL_NVIC_SetPriority(DMA1_Stream0_IRQn, 0, 0);
  HAL_NVIC_EnableIRQ(DMA1_Stream0_IRQn);

}

static void MX_GPIO_Init(void)
{
  GPIO_InitTypeDef GPIO_InitStruct = {0};

  /* GPIO Ports Clock Enable */
  __HAL_RCC_GPIOE_CLK_ENABLE();
  __HAL_RCC_GPIOB_CLK_ENABLE();
  __HAL_RCC_GPIOA_CLK_ENABLE();
  __HAL_RCC_GPIOD_CLK_ENABLE();
  __HAL_RCC_GPIOC_CLK_ENABLE();
  __HAL_RCC_GPIOH_CLK_ENABLE();

  /*Configure GPIO pin Output Level */
  HAL_GPIO_WritePin(GPIOE, LED_HEARTBEAT_Pin|LCD_BL_Pin|LCD_CS_Pin|LCD_DC_Pin, GPIO_PIN_RESET);

  /*Configure GPIO pins : LED_HEARTBEAT_Pin LCD_BL_Pin LCD_CS_Pin LCD_DC_Pin */
  GPIO_InitStruct.Pin = LED_HEARTBEAT_Pin|LCD_BL_Pin|LCD_CS_Pin|LCD_DC_Pin;
  GPIO_InitStruct.Mode = GPIO_MODE_OUTPUT_PP;
  GPIO_InitStruct.Pull = GPIO_NOPULL;
  GPIO_InitStruct.Speed = GPIO_SPEED_FREQ_LOW;
  HAL_GPIO_Init(GPIOE, &GPIO_InitStruct);

}

 /* MPU Configuration */

void MPU_Config(void)
{
  MPU_Region_InitTypeDef MPU_InitStruct = {0};

  /* Disables the MPU */
  HAL_MPU_Disable();

  /** Initializes and configures the Region and the memory to be protected
  */
  MPU_InitStruct.Enable = MPU_REGION_ENABLE;
  MPU_InitStruct.Number = MPU_REGION_NUMBER0;
  MPU_InitStruct.BaseAddress = 0x0;
  MPU_InitStruct.Size = MPU_REGION_SIZE_4GB;
  MPU_InitStruct.SubRegionDisable = 0x87;
  MPU_InitStruct.TypeExtField = MPU_TEX_LEVEL0;
  MPU_InitStruct.AccessPermission = MPU_REGION_NO_ACCESS;
  MPU_InitStruct.DisableExec = MPU_INSTRUCTION_ACCESS_DISABLE;
  MPU_InitStruct.IsShareable = MPU_ACCESS_SHAREABLE;
  MPU_InitStruct.IsCacheable = MPU_ACCESS_NOT_CACHEABLE;
  MPU_InitStruct.IsBufferable = MPU_ACCESS_NOT_BUFFERABLE;

  HAL_MPU_ConfigRegion(&MPU_InitStruct);
  /* Enables the MPU */
  HAL_MPU_Enable(MPU_PRIVILEGED_DEFAULT);

}

void Error_Handler(void)
{
  __disable_irq();
  while (1)
  {
  }
}
